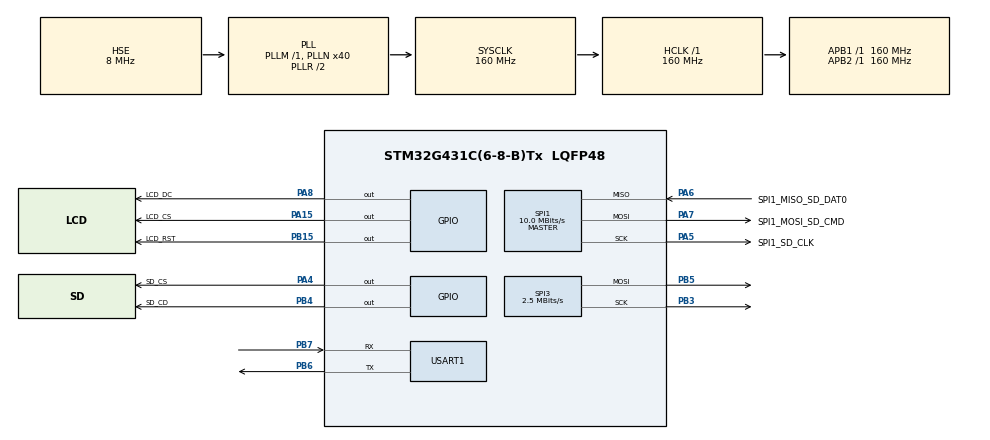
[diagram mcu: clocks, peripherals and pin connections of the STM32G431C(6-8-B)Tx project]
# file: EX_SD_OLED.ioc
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Dma.Request0=SPI1_RX
Dma.Request1=SPI1_TX
Dma.SPI1_RX.0.Direction=DMA_PERIPH_TO_MEMORY
Dma.SPI1_RX.0.EventEnable=DISABLE
Dma.SPI1_RX.0.Instance=DMA1_Channel1
Dma.SPI1_RX.0.MemDataAlignment=DMA_MDATAALIGN_BYTE
Dma.SPI1_RX.0.MemInc=DMA_MINC_ENABLE
Dma.SPI1_RX.0.Mode=DMA_CIRCULAR
Dma.SPI1_RX.0.PeriphDataAlignment=DMA_PDATAALIGN_BYTE
Dma.SPI1_RX.0.PeriphInc=DMA_PINC_DISABLE
Dma.SPI1_RX.0.Polarity=HAL_DMAMUX_REQ_GEN_RISING
Dma.SPI1_RX.0.Priority=DMA_PRIORITY_LOW
Dma.SPI1_RX.0.RequestNumber=1
Dma.SPI1_RX.0.SignalID=NONE
Dma.SPI1_RX.0.SyncEnable=DISABLE
Dma.SPI1_RX.0.SyncPolarity=HAL_DMAMUX_SYNC_NO_EVENT
Dma.SPI1_RX.0.SyncRequestNumber=1
Dma.SPI1_RX.0.SyncSignalID=NONE
Dma.SPI1_TX.1.Direction=DMA_MEMORY_TO_PERIPH
Dma.SPI1_TX.1.EventEnable=DISABLE
Dma.SPI1_TX.1.Instance=DMA1_Channel2
Dma.SPI1_TX.1.MemDataAlignment=DMA_MDATAALIGN_BYTE
Dma.SPI1_TX.1.MemInc=DMA_MINC_ENABLE
Dma.SPI1_TX.1.Mode=DMA_CIRCULAR
Dma.SPI1_TX.1.PeriphDataAlignment=DMA_PDATAALIGN_BYTE
Dma.SPI1_TX.1.PeriphInc=DMA_PINC_DISABLE
Dma.SPI1_TX.1.Polarity=HAL_DMAMUX_REQ_GEN_RISING
Dma.SPI1_TX.1.Priority=DMA_PRIORITY_LOW
Dma.SPI1_TX.1.RequestNumber=1
Dma.SPI1_TX.1.SignalID=NONE
Dma.SPI1_TX.1.SyncEnable=DISABLE
Dma.SPI1_TX.1.SyncPolarity=HAL_DMAMUX_SYNC_NO_EVENT
Dma.SPI1_TX.1.SyncRequestNumber=1
Dma.SPI1_TX.1.SyncSignalID=NONE
FATFS._MAX_SS=4096
FATFS._USE_LFN=1
Mcu.Family=STM32G4
Mcu.Name=STM32G431C(6-8-B)Tx
Mcu.Package=LQFP48
NVIC.DMA1_Channel1_IRQn=true\:0\:0\:false\:false\:true\:false\:true\:true
NVIC.DMA1_Channel2_IRQn=true\:0\:0\:false\:false\:true\:false\:true\:true
NVIC.PriorityGroup=NVIC_PRIORITYGROUP_4
NVIC.USART1_IRQn=true\:0\:0\:false\:false\:true\:true\:true\:true
PA15.GPIO_Label=LCD_CS
PA15.Signal=GPIO_Output
PA4.GPIO_Label=SD_CS
PA4.GPIO_Speed=GPIO_SPEED_FREQ_MEDIUM
PA4.PinState=GPIO_PIN_SET
PA4.Signal=GPIO_Output
PA5.GPIO_Label=SPI1_SD_CLK
PA5.GPIO_Speed=GPIO_SPEED_FREQ_VERY_HIGH
PA5.Mode=Full_Duplex_Master
PA5.Signal=SPI1_SCK
PA6.GPIO_Label=SPI1_MISO_SD_DAT0
PA6.GPIO_Speed=GPIO_SPEED_FREQ_VERY_HIGH
PA6.Mode=Full_Duplex_Master
PA6.Signal=SPI1_MISO
PA7.GPIO_Label=SPI1_MOSI_SD_CMD
PA7.GPIO_Speed=GPIO_SPEED_FREQ_VERY_HIGH
PA7.Mode=Full_Duplex_Master
PA7.Signal=SPI1_MOSI
PA8.GPIO_Label=LCD_DC
PA8.Signal=GPIO_Output
PB15.GPIO_Label=LCD_RST
PB15.Signal=GPIO_Output
PB3.Mode=TX_Only_Simplex_Unidirect_Master
PB3.Signal=SPI3_SCK
PB4.GPIO_Label=SD_CD
PB4.GPIO_Speed=GPIO_SPEED_FREQ_MEDIUM
PB4.PinState=GPIO_PIN_SET
PB4.Signal=GPIO_Output
PB5.Mode=TX_Only_Simplex_Unidirect_Master
PB5.Signal=SPI3_MOSI
PB6.Mode=Asynchronous
PB6.Signal=USART1_TX
PB7.Mode=Asynchronous
PB7.Signal=USART1_RX
PF0-OSC_IN.Mode=HSE-External-Oscillator
PF0-OSC_IN.Signal=RCC_OSC_IN
PF1-OSC_OUT.Mode=HSE-External-Oscillator
PF1-OSC_OUT.Signal=RCC_OSC_OUT
ProjectManager.HeapSize=0x200
ProjectManager.StackSize=0x400
ProjectManager.TargetToolchain=STM32CubeIDE
RCC.ADC12Freq_Value=160000000
RCC.AHBFreq_Value=160000000
RCC.APB1Freq_Value=160000000
RCC.APB1TimFreq_Value=160000000
RCC.APB2Freq_Value=160000000
RCC.APB2TimFreq_Value=160000000
RCC.CK48CLockSelection=RCC_USBCLKSOURCE_HSI48
RCC.CortexFreq_Value=160000000
RCC.EXTERNAL_CLOCK_VALUE=12288000
RCC.HCLKFreq_Value=160000000
RCC.HSE_VALUE=8000000
RCC.HSI48_VALUE=48000000
RCC.HSI_VALUE=16000000
RCC.LSE_VALUE=32768
RCC.PLLN=40
RCC.PLLSourceVirtual=RCC_PLLSOURCE_HSE
RCC.SYSCLKFreq_VALUE=160000000
RCC.SYSCLKSource=RCC_SYSCLKSOURCE_PLLCLK
RCC.USBFreq_Value=48000000
RCC.VCOOutputFreq_Value=320000000
SPI1.BaudRatePrescaler=SPI_BAUDRATEPRESCALER_16
SPI1.CalculateBaudRate=10.0 MBits/s
SPI1.DataSize=SPI_DATASIZE_8BIT
SPI1.Direction=SPI_DIRECTION_2LINES
SPI1.Mode=SPI_MODE_MASTER
SPI1.VirtualType=VM_MASTER
SPI3.BaudRatePrescaler=SPI_BAUDRATEPRESCALER_64
SPI3.CalculateBaudRate=2.5 MBits/s
SPI3.DataSize=SPI_DATASIZE_8BIT
SPI3.Direction=SPI_DIRECTION_2LINES
SPI3.Mode=SPI_MODE_MASTER
SPI3.VirtualType=VM_MASTER
USART1.VirtualMode-Asynchronous=VM_ASYNC
VP_FATFS_VS_Generic.Mode=User_defined
VP_SYS_VS_DBSignals.Mode=DisableDeadBatterySignals
board=custom

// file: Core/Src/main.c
/* USER CODE BEGIN Header */
/**
 ******************************************************************************
 * @file           : main.c
 * @brief          : SD 카드 마운트 & 파일 입출력 (SPI + FatFs) + OLED 표시 데모
 ******************************************************************************
 * @attention
 *
 * Copyright (c) 2025 STMicroelectronics.
 * All rights reserved.
 *
 * This software is licensed under terms that can be found in the LICENSE file
 * in the root directory of this software component.
 * If no LICENSE file comes with this software, it is provided AS-IS.
 *
 ******************************************************************************
 */

/*
 * 초보자를 위한 요약
 * ------------------
 * - SD 카드가 꽂히면 자동으로 마운트, 빠지면 언마운트합니다.
 * - UART 터미널(TeraTerm 등)에서 명령을 입력해 파일 열기/쓰기/읽기/용량확인과
 *   OLED 이미지 표시를 테스트할 수 있습니다.
 *
 * 사용 가능한 명령
 * ----------------
 * help
 * mount / unmount
 * open <파일명> / close
 * write <텍스트>
 * read <파일명>
 * size
 * image <bmp파일명>     // BMP를 SD에서 읽어 OLED에 표시
 * antiflicker         // (라이브러리 제공 시) OLED 깜빡임 저감 모드
 * camera              // (라이브러리 제공 시) 카메라 최적 모드
 *
 * 주의(실전)
 * ----------
 * - 상용 제품에서는 예외 처리, 전원/탈착 상황 보호 로직, 멀티스레드 보호(뮤텍스) 등이 필요합니다.
 */
/* USER CODE END Header */

#include "main.h"
#include "dma.h"
#include "app_fatfs.h"
#include "spi.h"
#include "usart.h"
#include "gpio.h"

/* USER CODE BEGIN Includes */
#include <stdio.h>
#include <stdlib.h>
#include <string.h>
#include "fatfs_sd.h"
#include "oled.h"
#include "font.h"
/* USER CODE END Includes */

/* USER CODE BEGIN PD */
#define OLED_WIDTH   256
#define OLED_HEIGHT   64
/* USER CODE END PD */

/* USER CODE BEGIN PV */
/* FatFs 핸들 및 상태 */
FATFS   fs;
FATFS  *pfs;
FIL     fil;
FRESULT fres;
DWORD   fre_clust;

/* 간단한 텍스트 버퍼 (한 줄 입출력용) */
static char buffer[100];

/* SD 카드 삽입 상태(엣지 검출용) */
static uint8_t previousCardState = 0;

/* 파일 열림 상태 (0=열림, 1=닫힘). 기본 닫힘 */
int8_t closeFlag = 1;

/* 파일 I/O 길이 */
UINT bw, br;

/* UART 라인 입력 처리용 */
static char     rxBuffer[100];   /* 현재 라인 버퍼 */
static uint8_t  rxIndex = 0;     /* 버퍼 내 위치 */
static uint8_t  commandReady = 0;/* 1줄(엔터) 완료 플래그 */
static volatile uint8_t g_rx;    /* 인터럽트로 받는 1바이트 */
/* USER CODE END PV */

void SystemClock_Config(void);
/* USER CODE BEGIN PFP */
/* SD 카드 및 파일 I/F */
uint8_t SD_IsCardDetected(void);
void    SDMount(void);
void    SDUnmount(void);
void    OpenFile(char* fileName);
void    CloseFile(void);
void    CheckSize(void);
void    WriteFile(char* text);
void    ReadFile(char* fileName);

/* 명령 파서 */
void    ProcessCommand(char *command);
void    ShowHelp(void);

/* USER CODE END PFP */

/* USER CODE BEGIN 0 */

/* printf() → USART1 리다이렉트 */
int __io_putchar(int ch)
{
  (void)HAL_UART_Transmit(&huart1, (uint8_t*)&ch, 1, 100);
  return ch;
}

/* SD 카드 감지 (CD 핀 LOW = 삽입) */
uint8_t SD_IsCardDetected(void)
{
  return (HAL_GPIO_ReadPin(SD_CD_GPIO_Port, SD_CD_Pin) == GPIO_PIN_RESET);
}

/* SD 카드 마운트 */
void SDMount(void)
{
  fres = f_mount(&fs, "", 0);
  if (fres == FR_OK)
  {
    printf("SD Card mounted successfully.\r\n");
    oled_drawString(30, 0, "                  ", &font_07x10, 15);
    oled_drawString(30, 0, "SD Card Mounted",   &font_07x10, 15);
  }
  else
  {
    printf("SD Card mount error! (FRESULT=%d)\r\n", fres);
  }
}

/* SD 카드 언마운트 */
void SDUnmount(void)
{
  /* 열린 파일이 있으면 먼저 닫기(안전) */
  if (closeFlag == 0) CloseFile();

  fres = f_mount(NULL, "", 0);
  if (fres == FR_OK)
  {
    printf("SD Card unmounted successfully.\r\n");
    oled_drawString(30, 0, "                  ", &font_07x10, 15);
    oled_drawString(30, 0, "SD Card Un-Mounted", &font_07x10, 15);
  }
  else
  {
    printf("SD Card unmount error! (FRESULT=%d)\r\n", fres);
  }
}

/* 파일 열기(없으면 생성). 항상 append 위치로 이동 */
void OpenFile(char* fileName)
{
  if (closeFlag == 0)
  {
    printf("A file is already open. Close it first.\r\n");
    return;
  }

  fres = f_open(&fil, fileName, FA_OPEN_ALWAYS | FA_WRITE | FA_READ);
  if (fres != FR_OK)
  {
    printf("Failed to open/create '%s' (FRESULT=%d)\r\n", fileName, fres);
    return;
  }

  fres = f_lseek(&fil, f_size(&fil)); /* append 보장 */
  if (fres != FR_OK)
  {
    printf("Seek end failed. (FRESULT=%d)\r\n", fres);
    f_close(&fil);
    return;
  }

  printf("File '%s' ready. size=%lu bytes\r\n", fileName, (unsigned long)f_size(&fil));
  oled_drawString(30, 20, "                           ", &font_07x10, 15);
  oled_drawString(30, 20, "File Ready!!",               &font_07x10, 15);
  closeFlag = 0;
}

/* 열린 파일 닫기 */
void CloseFile(void)
{
  fres = f_close(&fil);
  if (fres == FR_OK)
  {
    printf("File closed.\r\n");
    oled_drawString(30, 20, "                           ", &font_07x10, 15);
    oled_drawString(30, 20, "File Closed!!",             &font_07x10, 15);
  }
  else
  {
    printf("File close failed. (FRESULT=%d)\r\n", fres);
  }
  closeFlag = 1;
}

/* SD 용량 확인 (KB 단위) */
void CheckSize(void)
{
  fres = f_getfree("", &fre_clust, &pfs);
  if (fres == FR_OK)
  {
    /* 섹터는 512바이트 → KB 환산은 *0.5 (512/1024) */
    uint32_t freeKB  = (uint32_t)(fre_clust * pfs->csize * 0.5f);
    uint32_t totalKB = (uint32_t)((pfs->n_fatent - 2) * pfs->csize * 0.5f);
    printf("Free: %lu KB / Total: %lu KB\r\n",
           (unsigned long)freeKB, (unsigned long)totalKB);
  }
  else
  {
    printf("Failed to get free space. (FRESULT=%d)\r\n", fres);
  }
}

/* 현재 열린 파일 끝에 한 줄을 append */
void WriteFile(char* text)
{
  if (closeFlag)
  {
    printf("No file is open. Use: open <filename>\r\n");
    return;
  }

  /* 항상 끝으로 이동(append 보장) */
  fres = f_lseek(&fil, f_size(&fil));
  if (fres != FR_OK) {
    printf("Seek end failed. (FRESULT=%d)\r\n", fres);
    return;
  }

  /* 안전하게 개행을 붙여 한 줄로 기록 */
  int len = snprintf(buffer, sizeof(buffer), "%s\r\n", text);
  if (len < 0)
  {
    printf("Format error.\r\n");
    return;
  }

  fres = f_write(&fil, buffer, (UINT)strlen(buffer), &bw);
  if (fres == FR_OK)
  {
    f_sync(&fil); /* 즉시 저장(전원 차단 대비) */
    printf("Write OK: %u bytes\r\n", (unsigned)bw);
  }
  else
  {
    printf("Write failed. (FRESULT=%d)\r\n", fres);
  }
}

/* 파일 읽기(주의: 데모용으로 최대 buffer 크기까지만 표시) */
void ReadFile(char* fileName)
{
  /* 다른 파일이 열려 있으면 닫고 읽기 전용으로 연다 */
  if (closeFlag == 0)
  {
	  CloseFile();
  }

  fres = f_open(&fil, fileName, FA_READ);
  if (fres != FR_OK)
  {
    printf("Failed to open '%s' for reading. (FRESULT=%d)\r\n", fileName, fres);
    return;
  }

  memset(buffer, 0, sizeof(buffer));
  fres = f_read(&fil, buffer, sizeof(buffer) - 1, &br);
  if (fres == FR_OK)
  {
    printf("----- FILE: %s -----\r\n", fileName);
    if (br > 0)
    {
      printf("%s", buffer);
      if (buffer[strlen(buffer) - 1] != '\n')
    	{
    	  printf("\r\n");
    	}
      printf("----- %u bytes shown (truncated if large) -----\r\n", (unsigned)br);
    }
    else
    {
      printf("(empty)\r\n");
    }
  }
  else
  {
    printf("Read failed. (FRESULT=%d)\r\n", fres);
  }

  f_close(&fil);
}

/* 한 줄 명령 해석 및 실행 */
void ProcessCommand(char *command)
{
  printf("Command received: %s\r\n", command);

  if (strcmp(command, "help") == 0)
  {
    ShowHelp();
  }
  else if (strcmp(command, "mount") == 0)
  {
    SDMount();
  }
  else if (strcmp(command, "unmount") == 0)
  {
    SDUnmount();
  }
  else if (strncmp(command, "open ", 5) == 0)
  {
    OpenFile(command + 5);
  }
  else if (strcmp(command, "close") == 0)
  {
    CloseFile();
  }
  else if (strncmp(command, "write ", 6) == 0)
  {
    WriteFile(command + 6);
  }
  else if (strncmp(command, "read ", 5) == 0)
  {
    ReadFile(command + 5);
  }
  else if (strncmp(command, "image ", 6) == 0)
  {
    DisplayImageFromSD_Enhanced(command + 6);
  }
  else if (strcmp(command, "size") == 0)
  {
    CheckSize();
  }
  else if (strcmp(command, "camera") == 0)
  {
    OLED_setCameraMode();
  }
  else {
    printf("Unknown command: %s\r\nType 'help' for available commands.\r\n", command);
  }
}

/* 명령 도움말 */
void ShowHelp(void)
{
  printf("\r\n=== Available Commands ===\r\n");
  printf("help               - Show this help\r\n");
  printf("mount              - Mount SD card\r\n");
  printf("unmount            - Unmount SD card\r\n");
  printf("open <filename>    - Open (create if not exist) & append mode\r\n");
  printf("close              - Close current file\r\n");
  printf("write <text>       - Append one line to current file\r\n");
  printf("read <filename>    - Read file content (up to buffer size)\r\n");
  printf("image <filename>   - Display 32bpp BMP on OLED\r\n");
  printf("size               - Show SD free/total space (KB)\r\n");
  printf("camera             - OLED camera mode (if available)\r\n");
  printf("==========================\r\n");
}
/* USER CODE END 0 */

int main(void) {
  /* MCU Configuration--------------------------------------------------------*/
  HAL_Init();
  SystemClock_Config();

  /* Initialize all configured peripherals */
  MX_GPIO_Init();
  MX_DMA_Init();
  MX_SPI1_Init();
  MX_USART1_UART_Init();
  if (MX_FATFS_Init() != APP_OK) {
    Error_Handler();
  }
  MX_SPI3_Init();

  /* USER CODE BEGIN 2 */
  /* OLED 초기화(라이브러리 제공 가정) */
  OLED_init();
  OLED_fill(0); /* 화면 클리어 */

  /* UART 1바이트 인터럽트 수신 시작 */
  HAL_UART_Receive_IT(&huart1, (uint8_t*)&g_rx, 1);

  /* 시작 메시지 */
  printf("\r\n=== SD Card Control System ===\r\n");
  printf("Type 'help' for available commands.\r\n");
  printf("Ready> ");

  /* USER CODE END 2 */

  /* Infinite loop */
  while (1) {

    /* SD 카드 삽입/제거 감지(엣지) */
    uint8_t currentCardState = SD_IsCardDetected();
    if (currentCardState && !previousCardState)
    {
      HAL_Delay(200); /* 간단한 디바운싱 */
      SDMount();
    }
    else if (!currentCardState && previousCardState)
    {
      SDUnmount();
    }
    previousCardState = currentCardState;

    /* 한 줄 명령 처리 */
    if (commandReady)
    {
      ProcessCommand(rxBuffer);
      commandReady = 0;
      printf("Ready> ");
    }

    HAL_Delay(10);
  }
}

void SystemClock_Config(void) {
  RCC_OscInitTypeDef RCC_OscInitStruct = {0};
  RCC_ClkInitTypeDef RCC_ClkInitStruct = {0};

  HAL_PWREx_ControlVoltageScaling(PWR_REGULATOR_VOLTAGE_SCALE1_BOOST);

  RCC_OscInitStruct.OscillatorType = RCC_OSCILLATORTYPE_HSE;
  RCC_OscInitStruct.HSEState       = RCC_HSE_ON;
  RCC_OscInitStruct.PLL.PLLState   = RCC_PLL_ON;
  RCC_OscInitStruct.PLL.PLLSource  = RCC_PLLSOURCE_HSE;
  RCC_OscInitStruct.PLL.PLLM       = RCC_PLLM_DIV1;
  RCC_OscInitStruct.PLL.PLLN       = 40;
  RCC_OscInitStruct.PLL.PLLP       = RCC_PLLP_DIV2;
  RCC_OscInitStruct.PLL.PLLQ       = RCC_PLLQ_DIV2;
  RCC_OscInitStruct.PLL.PLLR       = RCC_PLLR_DIV2;
  if (HAL_RCC_OscConfig(&RCC_OscInitStruct) != HAL_OK) {
    Error_Handler();
  }

  RCC_ClkInitStruct.ClockType      = RCC_CLOCKTYPE_HCLK | RCC_CLOCKTYPE_SYSCLK
                                   | RCC_CLOCKTYPE_PCLK1 | RCC_CLOCKTYPE_PCLK2;
  RCC_ClkInitStruct.SYSCLKSource   = RCC_SYSCLKSOURCE_PLLCLK;
  RCC_ClkInitStruct.AHBCLKDivider  = RCC_SYSCLK_DIV1;
  RCC_ClkInitStruct.APB1CLKDivider = RCC_HCLK_DIV1;
  RCC_ClkInitStruct.APB2CLKDivider = RCC_HCLK_DIV1;

  if (HAL_RCC_ClockConfig(&RCC_ClkInitStruct, FLASH_LATENCY_4) != HAL_OK) {
    Error_Handler();
  }
}

/* USER CODE BEGIN 4 */
/**
 * @brief UART 수신 인터럽트 콜백
 *        - 1바이트씩 수신하고 엔터('\r' 또는 '\n')가 오면 한 줄 명령으로 처리
 *        - 에코백 추가(터미널 가독성↑)
 */
void HAL_UART_RxCpltCallback(UART_HandleTypeDef *huart)
{
  if (huart->Instance == USART1)
  {
    if (g_rx == '\r' || g_rx == '\n')
    {
      rxBuffer[rxIndex] = '\0';
      commandReady = 1;
      rxIndex = 0;
      printf("\r\n");
    }
    else if (rxIndex < sizeof(rxBuffer) - 1)
    {
      rxBuffer[rxIndex++] = g_rx;
      // HAL_UART_Transmit(&huart1, (uint8_t*)&g_rx, 1, 10); // 이 줄 제거 또는 주석
    }
    HAL_UART_Receive_IT(&huart1, (uint8_t*)&g_rx, 1);
  }
}
/* USER CODE END 4 */

void Error_Handler(void) {
  __disable_irq();
  while (1) {
  }
}
